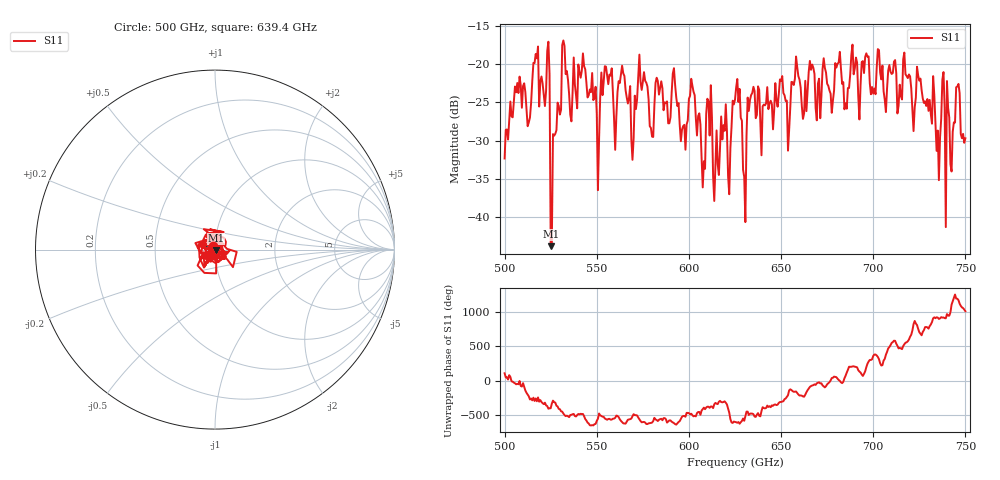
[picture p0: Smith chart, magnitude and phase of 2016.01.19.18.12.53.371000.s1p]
!Created with skrf (http://scikit-rf.org).
# GHz S RI R 50.0
!freq ReS11 ImS11
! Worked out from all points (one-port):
!   401 points, 500 GHz to 750 GHz, reference 50 ohm
!   lowest |S11| = -43.8 dB at 525 GHz (marker M1), VSWR 1.01, Z = 50.5 - j0.399 ohm
!   |S11| at or under -10 dB: start of sweep to end of sweep
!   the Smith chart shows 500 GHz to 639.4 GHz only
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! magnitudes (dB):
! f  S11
! 500 GHz  -32.4
! 506.9 GHz  -22.5
! 513.1 GHz  -27.6
! 516.9 GHz  -18.7
! 523.1 GHz  -18.3
! 525 GHz  -43.8
! 526.2 GHz  -29.2
! 531.2 GHz  -17.5
! 543.1 GHz  -20.3
! 550 GHz  -26.5
! 562.5 GHz  -22.5
! 570 GHz  -29.7
! 574.4 GHz  -23.4
! 580 GHz  -29.5
! 593.8 GHz  -25.5
! 601.9 GHz  -22.8
! 607.5 GHz  -36.1
! 611.2 GHz  -29.3
! 614.4 GHz  -33.2
! 618.8 GHz  -28.0
! 621.9 GHz  -37.0
! 625 GHz  -24.7
! 630 GHz  -34.8
! 634.4 GHz  -23.8
! 656.2 GHz  -22.4
! 687.5 GHz  -21.4
! 718.8 GHz  -21.8
! 750 GHz  -29.7
